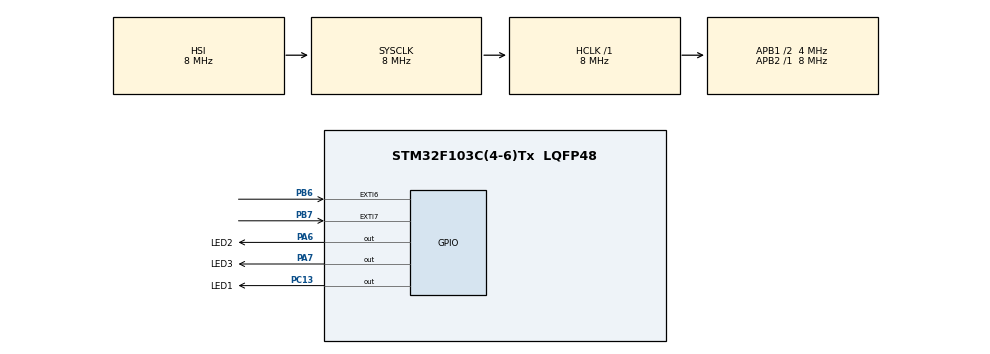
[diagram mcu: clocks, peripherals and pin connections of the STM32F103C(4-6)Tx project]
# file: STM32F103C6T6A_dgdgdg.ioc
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Mcu.Family=STM32F1
Mcu.Name=STM32F103C(4-6)Tx
Mcu.Package=LQFP48
NVIC.EXTI9_5_IRQn=true\:0\:0\:false\:false\:true\:true\:true\:true
NVIC.PriorityGroup=NVIC_PRIORITYGROUP_4
PA13.Mode=Serial_Wire
PA13.Signal=SYS_JTMS-SWDIO
PA14.Mode=Serial_Wire
PA14.Signal=SYS_JTCK-SWCLK
PA6.GPIO_Label=LED2
PA6.Signal=GPIO_Output
PA7.GPIO_Label=LED3
PA7.Signal=GPIO_Output
PB6.Signal=GPXTI6
PB7.Signal=GPXTI7
PC13-TAMPER-RTC.GPIO_Label=LED1
PC13-TAMPER-RTC.Signal=GPIO_Output
ProjectManager.HeapSize=0x200
ProjectManager.StackSize=0x400
ProjectManager.TargetToolchain=STM32CubeIDE
RCC.AHBFreq_Value=8000000
RCC.APB1CLKDivider=RCC_HCLK_DIV2
RCC.APB1Freq_Value=4000000
RCC.APB1TimFreq_Value=8000000
RCC.APB2Freq_Value=8000000
RCC.APB2TimFreq_Value=8000000
RCC.HCLKFreq_Value=8000000
RCC.HSEDivPLL=RCC_HSE_PREDIV_DIV2
RCC.HSE_VALUE=16000000
RCC.PLLMUL=RCC_PLL_MUL9
RCC.SYSCLKFreq_VALUE=8000000
RCC.USBFreq_Value=36000000
board=custom

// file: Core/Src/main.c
/* USER CODE BEGIN Header */
/**
  ******************************************************************************
  * @file           : main.c
  * @brief          : Main program body
  ******************************************************************************
  * @attention
  *
  * Copyright (c) 2024 STMicroelectronics.
  * All rights reserved.
  *
  * This software is licensed under terms that can be found in the LICENSE file
  * in the root directory of this software component.
  * If no LICENSE file comes with this software, it is provided AS-IS.
  *
  ******************************************************************************
  */
/* USER CODE END Header */
#include "main.h"

/* USER CODE BEGIN PD */
#define LOFF RESET
#define LON  SET
/* USER CODE END PD */

/* USER CODE BEGIN PV */

uint8_t trig1 = 0;
uint8_t trig2 = 0;

/* USER CODE END PV */

void SystemClock_Config(void);
static void MX_GPIO_Init(void);

/* USER CODE BEGIN 0 */

void HAL_GPIO_EXTI_Callback(uint16_t GPIO_Pin){
	if(GPIO_Pin == GPIO_PIN_6){
		trig1 = 0xff;
	}

	if(GPIO_Pin == GPIO_PIN_7){
		trig2 = 0xff;
	}

}

/* USER CODE END 0 */

int main(void)
{

  /* MCU Configuration--------------------------------------------------------*/

  /* Reset of all peripherals, Initializes the Flash interface and the Systick. */
  HAL_Init();

  /* Configure the system clock */
  SystemClock_Config();

  /* Initialize all configured peripherals */
  MX_GPIO_Init();

  /* Infinite loop */
  /* USER CODE BEGIN WHILE */
  while (1)
  {
	  if(trig1 != 0xff){

		  HAL_GPIO_WritePin(LED1_GPIO_Port, LED1_Pin, LON);
		  HAL_Delay(100);
		  HAL_GPIO_WritePin(LED2_GPIO_Port, LED2_Pin, LON);
		  HAL_Delay(100);
		  HAL_GPIO_WritePin(LED3_GPIO_Port, LED3_Pin, LON);
		  HAL_Delay(100);
		  HAL_GPIO_WritePin(LED1_GPIO_Port, LED1_Pin, LOFF);
		  HAL_Delay(100);
		  HAL_GPIO_WritePin(LED2_GPIO_Port, LED2_Pin, LOFF);
		  HAL_Delay(100);
		  HAL_GPIO_WritePin(LED3_GPIO_Port, LED3_Pin, LOFF);
		  HAL_Delay(100);

		  trig1 = 0;
	  }

	  if(trig2 != 0xff){

		  HAL_GPIO_WritePin(LED3_GPIO_Port, LED3_Pin, LON);
		  HAL_Delay(100);
		  HAL_GPIO_WritePin(LED2_GPIO_Port, LED2_Pin, LON);
		  HAL_Delay(100);
		  HAL_GPIO_WritePin(LED1_GPIO_Port, LED1_Pin, LON);
		  HAL_Delay(100);
		  HAL_GPIO_WritePin(LED3_GPIO_Port, LED3_Pin, LOFF);
		  HAL_Delay(100);
		  HAL_GPIO_WritePin(LED2_GPIO_Port, LED2_Pin, LOFF);
		  HAL_Delay(100);
		  HAL_GPIO_WritePin(LED1_GPIO_Port, LED1_Pin, LOFF);
		  HAL_Delay(100);

		  trig2 = 0;
	  }
//	  HAL_GPIO_TogglePin(LED1_GPIO_Port, LED1_Pin);
//	  HAL_Delay(100);
    /* USER CODE END WHILE */

  }
}

void SystemClock_Config(void)
{
  RCC_OscInitTypeDef RCC_OscInitStruct = {0};
  RCC_ClkInitTypeDef RCC_ClkInitStruct = {0};

  /** Initializes the RCC Oscillators according to the specified parameters
  * in the RCC_OscInitTypeDef structure.
  */
  RCC_OscInitStruct.OscillatorType = RCC_OSCILLATORTYPE_HSI;
  RCC_OscInitStruct.HSIState = RCC_HSI_ON;
  RCC_OscInitStruct.HSICalibrationValue = RCC_HSICALIBRATION_DEFAULT;
  RCC_OscInitStruct.PLL.PLLState = RCC_PLL_NONE;
  if (HAL_RCC_OscConfig(&RCC_OscInitStruct) != HAL_OK)
  {
    Error_Handler();
  }

  /** Initializes the CPU, AHB and APB buses clocks
  */
  RCC_ClkInitStruct.ClockType = RCC_CLOCKTYPE_HCLK|RCC_CLOCKTYPE_SYSCLK
                              |RCC_CLOCKTYPE_PCLK1|RCC_CLOCKTYPE_PCLK2;
  RCC_ClkInitStruct.SYSCLKSource = RCC_SYSCLKSOURCE_HSI;
  RCC_ClkInitStruct.AHBCLKDivider = RCC_SYSCLK_DIV1;
  RCC_ClkInitStruct.APB1CLKDivider = RCC_HCLK_DIV2;
  RCC_ClkInitStruct.APB2CLKDivider = RCC_HCLK_DIV1;

  if (HAL_RCC_ClockConfig(&RCC_ClkInitStruct, FLASH_LATENCY_0) != HAL_OK)
  {
    Error_Handler();
  }
}

static void MX_GPIO_Init(void)
{
  GPIO_InitTypeDef GPIO_InitStruct = {0};

  /* GPIO Ports Clock Enable */
  __HAL_RCC_GPIOC_CLK_ENABLE();
  __HAL_RCC_GPIOA_CLK_ENABLE();
  __HAL_RCC_GPIOB_CLK_ENABLE();

  /*Configure GPIO pin Output Level */
  HAL_GPIO_WritePin(LED1_GPIO_Port, LED1_Pin, GPIO_PIN_RESET);

  /*Configure GPIO pin Output Level */
  HAL_GPIO_WritePin(GPIOA, LED2_Pin|LED3_Pin, GPIO_PIN_RESET);

  /*Configure GPIO pin : LED1_Pin */
  GPIO_InitStruct.Pin = LED1_Pin;
  GPIO_InitStruct.Mode = GPIO_MODE_OUTPUT_PP;
  GPIO_InitStruct.Pull = GPIO_NOPULL;
  GPIO_InitStruct.Speed = GPIO_SPEED_FREQ_LOW;
  HAL_GPIO_Init(LED1_GPIO_Port, &GPIO_InitStruct);

  /*Configure GPIO pins : LED2_Pin LED3_Pin */
  GPIO_InitStruct.Pin = LED2_Pin|LED3_Pin;
  GPIO_InitStruct.Mode = GPIO_MODE_OUTPUT_PP;
  GPIO_InitStruct.Pull = GPIO_NOPULL;
  GPIO_InitStruct.Speed = GPIO_SPEED_FREQ_LOW;
  HAL_GPIO_Init(GPIOA, &GPIO_InitStruct);

  /*Configure GPIO pins : PB6 PB7 */
  GPIO_InitStruct.Pin = GPIO_PIN_6|GPIO_PIN_7;
  GPIO_InitStruct.Mode = GPIO_MODE_IT_RISING;
  GPIO_InitStruct.Pull = GPIO_NOPULL;
  HAL_GPIO_Init(GPIOB, &GPIO_InitStruct);

  /* EXTI interrupt init*/
  HAL_NVIC_SetPriority(EXTI9_5_IRQn, 0, 0);
  HAL_NVIC_EnableIRQ(EXTI9_5_IRQn);

}

void Error_Handler(void)
{
  __disable_irq();
  while (1)
  {
  }
}
